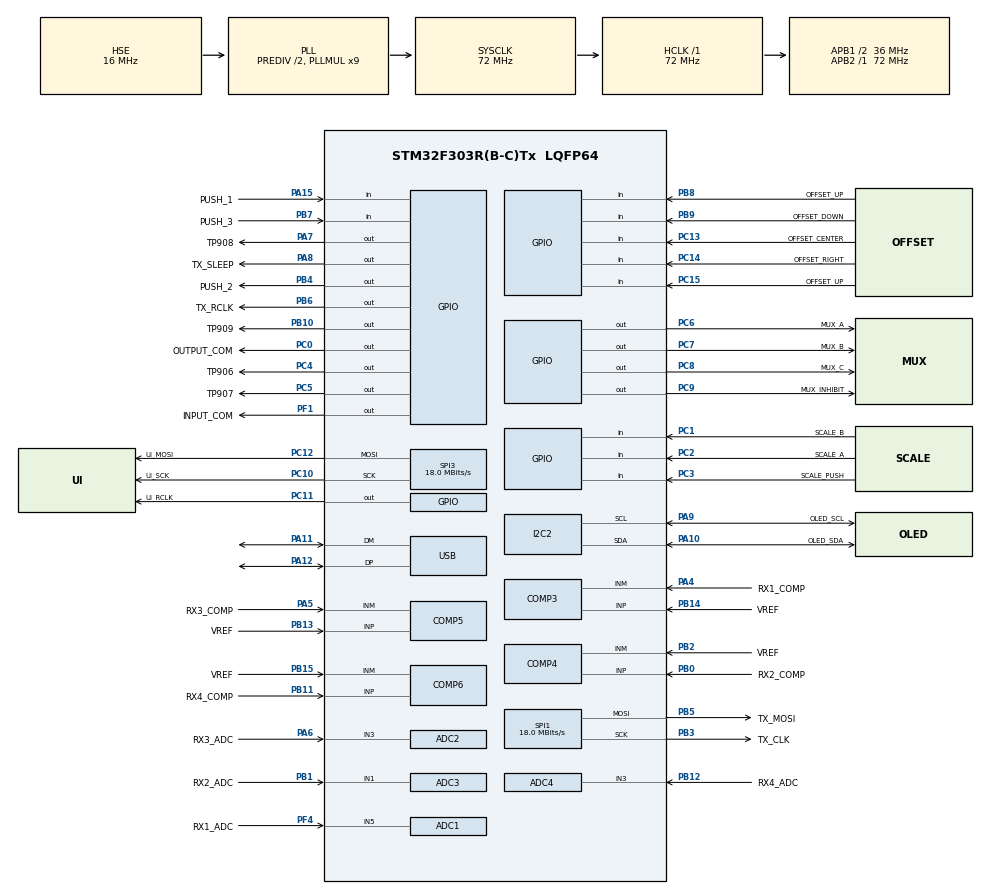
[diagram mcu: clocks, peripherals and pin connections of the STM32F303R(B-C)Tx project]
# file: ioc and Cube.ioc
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ADC1.Channel-0\#ChannelRegularConversion=ADC_CHANNEL_5
ADC1.ClockPrescaler=ADC_CLOCK_SYNC_PCLK_DIV1
ADC1.NbrOfConversionFlag=1
ADC1.Offset-0\#ChannelRegularConversion=0
ADC1.OffsetNumber-0\#ChannelRegularConversion=ADC_OFFSET_NONE
ADC1.Rank-0\#ChannelRegularConversion=1
ADC1.SamplingTime-0\#ChannelRegularConversion=ADC_SAMPLETIME_1CYCLE_5
ADC1.SamplingTimeOPAMP-0\#ChannelRegularConversion=ADC_SAMPLETIME_19CYCLES_5
ADC1.master=1
ADC2.Channel-0\#ChannelRegularConversion=ADC_CHANNEL_3
ADC2.ClockPrescaler=ADC_CLOCK_SYNC_PCLK_DIV1
ADC2.NbrOfConversionFlag=1
ADC2.Offset-0\#ChannelRegularConversion=0
ADC2.OffsetNumber-0\#ChannelRegularConversion=ADC_OFFSET_NONE
ADC2.Rank-0\#ChannelRegularConversion=1
ADC2.SamplingTime-0\#ChannelRegularConversion=ADC_SAMPLETIME_1CYCLE_5
ADC2.SamplingTimeOPAMP-0\#ChannelRegularConversion=ADC_SAMPLETIME_19CYCLES_5
ADC3.Channel-0\#ChannelRegularConversion=ADC_CHANNEL_1
ADC3.ClockPrescaler=ADC_CLOCK_SYNC_PCLK_DIV1
ADC3.NbrOfConversionFlag=1
ADC3.Offset-0\#ChannelRegularConversion=0
ADC3.OffsetNumber-0\#ChannelRegularConversion=ADC_OFFSET_NONE
ADC3.Rank-0\#ChannelRegularConversion=1
ADC3.SamplingTime-0\#ChannelRegularConversion=ADC_SAMPLETIME_1CYCLE_5
ADC3.SamplingTimeOPAMP-0\#ChannelRegularConversion=ADC_SAMPLETIME_4CYCLES_5
ADC3.master=1
ADC4.Channel-0\#ChannelRegularConversion=ADC_CHANNEL_3
ADC4.ClockPrescaler=ADC_CLOCK_SYNC_PCLK_DIV1
ADC4.NbrOfConversionFlag=1
ADC4.Offset-0\#ChannelRegularConversion=0
ADC4.OffsetNumber-0\#ChannelRegularConversion=ADC_OFFSET_NONE
ADC4.Rank-0\#ChannelRegularConversion=1
ADC4.SamplingTime-0\#ChannelRegularConversion=ADC_SAMPLETIME_1CYCLE_5
ADC4.SamplingTimeOPAMP-0\#ChannelRegularConversion=ADC_SAMPLETIME_19CYCLES_5
Dma.ADC1.0.Direction=DMA_PERIPH_TO_MEMORY
Dma.ADC1.0.Instance=DMA1_Channel1
Dma.ADC1.0.MemDataAlignment=DMA_MDATAALIGN_HALFWORD
Dma.ADC1.0.MemInc=DMA_MINC_ENABLE
Dma.ADC1.0.Mode=DMA_NORMAL
Dma.ADC1.0.PeriphDataAlignment=DMA_PDATAALIGN_HALFWORD
Dma.ADC1.0.PeriphInc=DMA_PINC_DISABLE
Dma.ADC1.0.Priority=DMA_PRIORITY_MEDIUM
Dma.ADC2.1.Direction=DMA_PERIPH_TO_MEMORY
Dma.ADC2.1.Instance=DMA2_Channel1
Dma.ADC2.1.MemDataAlignment=DMA_MDATAALIGN_HALFWORD
Dma.ADC2.1.MemInc=DMA_MINC_ENABLE
Dma.ADC2.1.Mode=DMA_NORMAL
Dma.ADC2.1.PeriphDataAlignment=DMA_PDATAALIGN_HALFWORD
Dma.ADC2.1.PeriphInc=DMA_PINC_DISABLE
Dma.ADC2.1.Priority=DMA_PRIORITY_MEDIUM
Dma.ADC3.2.Direction=DMA_PERIPH_TO_MEMORY
Dma.ADC3.2.Instance=DMA2_Channel5
Dma.ADC3.2.MemDataAlignment=DMA_MDATAALIGN_HALFWORD
Dma.ADC3.2.MemInc=DMA_MINC_ENABLE
Dma.ADC3.2.Mode=DMA_NORMAL
Dma.ADC3.2.PeriphDataAlignment=DMA_PDATAALIGN_HALFWORD
Dma.ADC3.2.PeriphInc=DMA_PINC_DISABLE
Dma.ADC3.2.Priority=DMA_PRIORITY_MEDIUM
Dma.ADC4.3.Direction=DMA_PERIPH_TO_MEMORY
Dma.ADC4.3.Instance=DMA2_Channel2
Dma.ADC4.3.MemDataAlignment=DMA_MDATAALIGN_HALFWORD
Dma.ADC4.3.MemInc=DMA_MINC_ENABLE
Dma.ADC4.3.Mode=DMA_NORMAL
Dma.ADC4.3.PeriphDataAlignment=DMA_PDATAALIGN_HALFWORD
Dma.ADC4.3.PeriphInc=DMA_PINC_DISABLE
Dma.ADC4.3.Priority=DMA_PRIORITY_MEDIUM
Dma.Request0=ADC1
Dma.Request1=ADC2
Dma.Request2=ADC3
Dma.Request3=ADC4
I2C2.Timing=0x00201D2B
Mcu.Family=STM32F3
Mcu.Name=STM32F303R(B-C)Tx
Mcu.Package=LQFP64
NVIC.ADC1_2_IRQn=true\:0\:0\:false\:false\:true\:true\:true\:true
NVIC.ADC3_IRQn=true\:0\:0\:false\:false\:true\:true\:true\:true
NVIC.ADC4_IRQn=true\:0\:0\:false\:false\:true\:true\:true\:true
NVIC.DMA1_Channel1_IRQn=true\:0\:0\:false\:false\:true\:false\:true\:true
NVIC.DMA2_Channel1_IRQn=true\:0\:0\:false\:false\:true\:false\:true\:true
NVIC.DMA2_Channel2_IRQn=true\:0\:0\:false\:false\:true\:false\:true\:true
NVIC.DMA2_Channel5_IRQn=true\:0\:0\:false\:false\:true\:false\:true\:true
NVIC.PriorityGroup=NVIC_PRIORITYGROUP_4
NVIC.TIM1_UP_TIM16_IRQn=true\:15\:0\:false\:false\:true\:false\:true\:true
NVIC.TimeBase=TIM1_UP_TIM16_IRQn
NVIC.TimeBaseIP=TIM1
PA10.GPIO_Label=OLED_SDA
PA10.Mode=I2C
PA10.Signal=I2C2_SDA
PA11.Mode=Device
PA11.Signal=USB_DM
PA12.Mode=Device
PA12.Signal=USB_DP
PA13.Mode=Serial_Wire
PA13.Signal=SYS_JTMS-SWDIO
PA14.Mode=Serial_Wire
PA14.Signal=SYS_JTCK-SWCLK
PA15.GPIO_Label=PUSH_1
PA15.Signal=GPIO_Input
PA4.GPIO_Label=RX1_COMP
PA4.Mode=INM
PA4.Signal=COMP3_INM
PA5.GPIO_Label=RX3_COMP
PA5.Mode=INM
PA5.Signal=COMP5_INM
PA6.GPIO_Label=RX3_ADC
PA6.Mode=IN3-Single-Ended
PA6.Signal=ADC2_IN3
PA7.GPIO_Label=TP908
PA7.Signal=GPIO_Output
PA8.GPIO_Label=TX_SLEEP
PA8.Signal=GPIO_Output
PA9.GPIO_Label=OLED_SCL
PA9.Mode=I2C
PA9.Signal=I2C2_SCL
PB0.GPIO_Label=RX2_COMP
PB0.Mode=INP
PB0.Signal=COMP4_INP
PB1.GPIO_Label=RX2_ADC
PB1.Mode=IN1-Single-Ended
PB1.Signal=ADC3_IN1
PB10.GPIO_Label=TP909
PB10.Signal=GPIO_Output
PB11.GPIO_Label=RX4_COMP
PB11.Mode=INP
PB11.Signal=COMP6_INP
PB12.GPIO_Label=RX4_ADC
PB12.Mode=IN3-Single-Ended
PB12.Signal=ADC4_IN3
PB13.GPIO_Label=VREF
PB13.Mode=INP
PB13.Signal=COMP5_INP
PB14.GPIO_Label=VREF
PB14.Mode=INP
PB14.Signal=COMP3_INP
PB15.GPIO_Label=VREF
PB15.Mode=INM
PB15.Signal=COMP6_INM
PB2.GPIO_Label=VREF
PB2.Mode=INM
PB2.Signal=COMP4_INM
PB3.GPIO_Label=TX_CLK
PB3.Mode=TX_Only_Simplex_Unidirect_Master
PB3.Signal=SPI1_SCK
PB4.GPIO_Label=PUSH_2
PB4.Signal=GPIO_Output
PB5.GPIO_Label=TX_MOSI
PB5.Mode=TX_Only_Simplex_Unidirect_Master
PB5.Signal=SPI1_MOSI
PB6.GPIO_Label=TX_RCLK
PB6.Signal=GPIO_Output
PB7.GPIO_Label=PUSH_3
PB7.Signal=GPIO_Input
PB8.GPIO_Label=OFFSET_UP
PB8.Signal=GPIO_Input
PB9.GPIO_Label=OFFSET_DOWN
PB9.Signal=GPIO_Input
PC0.GPIO_Label=OUTPUT_COM
PC0.Signal=GPIO_Output
PC1.GPIO_Label=SCALE_B
PC1.Signal=GPIO_Input
PC10.GPIO_Label=UI_SCK
PC10.Mode=TX_Only_Simplex_Unidirect_Master
PC10.Signal=SPI3_SCK
PC11.GPIO_Label=UI_RCLK
PC11.Signal=GPIO_Output
PC12.GPIO_Label=UI_MOSI
PC12.Mode=TX_Only_Simplex_Unidirect_Master
PC12.Signal=SPI3_MOSI
PC13.GPIO_Label=OFFSET_CENTER
PC13.Signal=GPIO_Input
PC14-OSC32_IN.GPIO_Label=OFFSET_RIGHT
PC14-OSC32_IN.Signal=GPIO_Input
PC15-OSC32_OUT.GPIO_Label=OFFSET_UP
PC15-OSC32_OUT.Signal=GPIO_Input
PC2.GPIO_Label=SCALE_A
PC2.Signal=GPIO_Input
PC3.GPIO_Label=SCALE_PUSH
PC3.Signal=GPIO_Input
PC4.GPIO_Label=TP906
PC4.Signal=GPIO_Output
PC5.GPIO_Label=TP907
PC5.Signal=GPIO_Output
PC6.GPIO_Label=MUX_A
PC6.Signal=GPIO_Output
PC7.GPIO_Label=MUX_B
PC7.Signal=GPIO_Output
PC8.GPIO_Label=MUX_C
PC8.Signal=GPIO_Output
PC9.GPIO_Label=MUX_INHIBIT
PC9.Signal=GPIO_Output
PF0-OSC_IN.Mode=HSE-External-Clock-Source
PF0-OSC_IN.Signal=RCC_OSC_IN
PF1-OSC_OUT.GPIO_Label=INPUT_COM
PF1-OSC_OUT.Signal=GPIO_Output
PF4.GPIO_Label=RX1_ADC
PF4.Mode=IN5-Single-Ended
PF4.Signal=ADC1_IN5
ProjectManager.HeapSize=0x200
ProjectManager.StackSize=0x400
ProjectManager.TargetToolchain=STM32CubeIDE
RCC.AHBFreq_Value=72000000
RCC.APB1CLKDivider=RCC_HCLK_DIV2
RCC.APB1Freq_Value=36000000
RCC.APB1TimFreq_Value=72000000
RCC.APB2Freq_Value=72000000
RCC.APB2TimFreq_Value=72000000
RCC.CortexFreq_Value=72000000
RCC.HCLKFreq_Value=72000000
RCC.HSE_VALUE=16000000
RCC.HSI_VALUE=8000000
RCC.LSE_VALUE=32768
RCC.PLLMUL=RCC_PLL_MUL9
RCC.PRESCALERUSB=RCC_USBCLKSOURCE_PLL_DIV1_5
RCC.RCC_PLLsource_Clock_Source_FROM_HSE=RCC_HSE_PREDIV_DIV2
RCC.SYSCLKFreq_VALUE=72000000
RCC.SYSCLKSourceVirtual=RCC_SYSCLKSOURCE_PLLCLK
RCC.USBFreq_Value=48000000
SPI1.BaudRatePrescaler=SPI_BAUDRATEPRESCALER_4
SPI1.CalculateBaudRate=18.0 MBits/s
SPI1.Direction=SPI_DIRECTION_2LINES
SPI1.Mode=SPI_MODE_MASTER
SPI1.VirtualType=VM_MASTER
SPI3.BaudRatePrescaler=SPI_BAUDRATEPRESCALER_2
SPI3.CalculateBaudRate=18.0 MBits/s
SPI3.Direction=SPI_DIRECTION_2LINES
SPI3.Mode=SPI_MODE_MASTER
SPI3.VirtualType=VM_MASTER
VP_SYS_VS_tim1.Mode=TIM1
board=custom

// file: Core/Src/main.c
/* USER CODE BEGIN Header */
/**
  ******************************************************************************
  * @file           : main.c
  * @brief          : Main program body
  ******************************************************************************
  * @attention
  *
  * Copyright (c) 2025 STMicroelectronics.
  * All rights reserved.
  *
  * This software is licensed under terms that can be found in the LICENSE file
  * in the root directory of this software component.
  * If no LICENSE file comes with this software, it is provided AS-IS.
  *
  ******************************************************************************
  */
/* USER CODE END Header */
#include "main.h"

ADC_HandleTypeDef hadc1;
ADC_HandleTypeDef hadc2;
ADC_HandleTypeDef hadc3;
ADC_HandleTypeDef hadc4;
DMA_HandleTypeDef hdma_adc1;
DMA_HandleTypeDef hdma_adc2;
DMA_HandleTypeDef hdma_adc3;
DMA_HandleTypeDef hdma_adc4;

COMP_HandleTypeDef hcomp3;
COMP_HandleTypeDef hcomp4;
COMP_HandleTypeDef hcomp5;
COMP_HandleTypeDef hcomp6;

I2C_HandleTypeDef hi2c2;

SPI_HandleTypeDef hspi1;
SPI_HandleTypeDef hspi3;

PCD_HandleTypeDef hpcd_USB_FS;

void SystemClock_Config(void);
static void MX_GPIO_Init(void);
static void MX_DMA_Init(void);
static void MX_ADC3_Init(void);
static void MX_COMP3_Init(void);
static void MX_COMP4_Init(void);
static void MX_COMP5_Init(void);
static void MX_COMP6_Init(void);
static void MX_USB_PCD_Init(void);
static void MX_ADC1_Init(void);
static void MX_ADC2_Init(void);
static void MX_ADC4_Init(void);
static void MX_I2C2_Init(void);
static void MX_SPI1_Init(void);
static void MX_SPI3_Init(void);

int main(void)
{

  /* MCU Configuration--------------------------------------------------------*/

  /* Reset of all peripherals, Initializes the Flash interface and the Systick. */
  HAL_Init();

  /* Configure the system clock */
  SystemClock_Config();

  /* Initialize all configured peripherals */
  MX_GPIO_Init();
  MX_DMA_Init();
  MX_ADC3_Init();
  MX_COMP3_Init();
  MX_COMP4_Init();
  MX_COMP5_Init();
  MX_COMP6_Init();
  MX_USB_PCD_Init();
  MX_ADC1_Init();
  MX_ADC2_Init();
  MX_ADC4_Init();
  MX_I2C2_Init();
  MX_SPI1_Init();
  MX_SPI3_Init();
  /* USER CODE BEGIN 2 */
  ssd1306_Init();
  ssd1306_Fill(White);
  ssd1306_UpdateScreen();

  HAL_Delay(50);

  ssd1306_SetCursor(10, 20);
  ssd1306_WriteString("HELLO WORLD", Font_6x8, Black);
  ssd1306_UpdateScreen();
  /* USER CODE END 2 */

  /* Infinite loop */
  while (1)
  {

  }
}

void SystemClock_Config(void)
{
  RCC_OscInitTypeDef RCC_OscInitStruct = {0};
  RCC_ClkInitTypeDef RCC_ClkInitStruct = {0};
  RCC_PeriphCLKInitTypeDef PeriphClkInit = {0};

  /** Initializes the RCC Oscillators according to the specified parameters
  * in the RCC_OscInitTypeDef structure.
  */
  RCC_OscInitStruct.OscillatorType = RCC_OSCILLATORTYPE_HSI|RCC_OSCILLATORTYPE_HSE;
  RCC_OscInitStruct.HSEState = RCC_HSE_BYPASS;
  RCC_OscInitStruct.HSEPredivValue = RCC_HSE_PREDIV_DIV2;
  RCC_OscInitStruct.HSIState = RCC_HSI_ON;
  RCC_OscInitStruct.HSICalibrationValue = RCC_HSICALIBRATION_DEFAULT;
  RCC_OscInitStruct.PLL.PLLState = RCC_PLL_ON;
  RCC_OscInitStruct.PLL.PLLSource = RCC_PLLSOURCE_HSE;
  RCC_OscInitStruct.PLL.PLLMUL = RCC_PLL_MUL9;
  if (HAL_RCC_OscConfig(&RCC_OscInitStruct) != HAL_OK)
  {
    Error_Handler();
  }

  /** Initializes the CPU, AHB and APB buses clocks
  */
  RCC_ClkInitStruct.ClockType = RCC_CLOCKTYPE_HCLK|RCC_CLOCKTYPE_SYSCLK
                              |RCC_CLOCKTYPE_PCLK1|RCC_CLOCKTYPE_PCLK2;
  RCC_ClkInitStruct.SYSCLKSource = RCC_SYSCLKSOURCE_PLLCLK;
  RCC_ClkInitStruct.AHBCLKDivider = RCC_SYSCLK_DIV1;
  RCC_ClkInitStruct.APB1CLKDivider = RCC_HCLK_DIV2;
  RCC_ClkInitStruct.APB2CLKDivider = RCC_HCLK_DIV1;

  if (HAL_RCC_ClockConfig(&RCC_ClkInitStruct, FLASH_LATENCY_2) != HAL_OK)
  {
    Error_Handler();
  }
  PeriphClkInit.PeriphClockSelection = RCC_PERIPHCLK_USB|RCC_PERIPHCLK_I2C2;
  PeriphClkInit.I2c2ClockSelection = RCC_I2C2CLKSOURCE_HSI;
  PeriphClkInit.USBClockSelection = RCC_USBCLKSOURCE_PLL_DIV1_5;
  if (HAL_RCCEx_PeriphCLKConfig(&PeriphClkInit) != HAL_OK)
  {
    Error_Handler();
  }
}

static void MX_ADC1_Init(void)
{

  ADC_MultiModeTypeDef multimode = {0};
  ADC_ChannelConfTypeDef sConfig = {0};

  /** Common config
  */
  hadc1.Instance = ADC1;
  hadc1.Init.ClockPrescaler = ADC_CLOCK_SYNC_PCLK_DIV1;
  hadc1.Init.Resolution = ADC_RESOLUTION_12B;
  hadc1.Init.ScanConvMode = ADC_SCAN_DISABLE;
  hadc1.Init.ContinuousConvMode = DISABLE;
  hadc1.Init.DiscontinuousConvMode = DISABLE;
  hadc1.Init.ExternalTrigConvEdge = ADC_EXTERNALTRIGCONVEDGE_NONE;
  hadc1.Init.ExternalTrigConv = ADC_SOFTWARE_START;
  hadc1.Init.DataAlign = ADC_DATAALIGN_RIGHT;
  hadc1.Init.NbrOfConversion = 1;
  hadc1.Init.DMAContinuousRequests = DISABLE;
  hadc1.Init.EOCSelection = ADC_EOC_SINGLE_CONV;
  hadc1.Init.LowPowerAutoWait = DISABLE;
  hadc1.Init.Overrun = ADC_OVR_DATA_OVERWRITTEN;
  if (HAL_ADC_Init(&hadc1) != HAL_OK)
  {
    Error_Handler();
  }

  /** Configure the ADC multi-mode
  */
  multimode.Mode = ADC_MODE_INDEPENDENT;
  if (HAL_ADCEx_MultiModeConfigChannel(&hadc1, &multimode) != HAL_OK)
  {
    Error_Handler();
  }

  /** Configure Regular Channel
  */
  sConfig.Channel = ADC_CHANNEL_5;
  sConfig.Rank = ADC_REGULAR_RANK_1;
  sConfig.SingleDiff = ADC_SINGLE_ENDED;
  sConfig.SamplingTime = ADC_SAMPLETIME_1CYCLE_5;
  sConfig.OffsetNumber = ADC_OFFSET_NONE;
  sConfig.Offset = 0;
  if (HAL_ADC_ConfigChannel(&hadc1, &sConfig) != HAL_OK)
  {
    Error_Handler();
  }

}

static void MX_ADC2_Init(void)
{

  ADC_ChannelConfTypeDef sConfig = {0};

  /** Common config
  */
  hadc2.Instance = ADC2;
  hadc2.Init.ClockPrescaler = ADC_CLOCK_SYNC_PCLK_DIV1;
  hadc2.Init.Resolution = ADC_RESOLUTION_12B;
  hadc2.Init.ScanConvMode = ADC_SCAN_DISABLE;
  hadc2.Init.ContinuousConvMode = DISABLE;
  hadc2.Init.DiscontinuousConvMode = DISABLE;
  hadc2.Init.ExternalTrigConvEdge = ADC_EXTERNALTRIGCONVEDGE_NONE;
  hadc2.Init.ExternalTrigConv = ADC_SOFTWARE_START;
  hadc2.Init.DataAlign = ADC_DATAALIGN_RIGHT;
  hadc2.Init.NbrOfConversion = 1;
  hadc2.Init.DMAContinuousRequests = DISABLE;
  hadc2.Init.EOCSelection = ADC_EOC_SINGLE_CONV;
  hadc2.Init.LowPowerAutoWait = DISABLE;
  hadc2.Init.Overrun = ADC_OVR_DATA_OVERWRITTEN;
  if (HAL_ADC_Init(&hadc2) != HAL_OK)
  {
    Error_Handler();
  }

  /** Configure Regular Channel
  */
  sConfig.Channel = ADC_CHANNEL_3;
  sConfig.Rank = ADC_REGULAR_RANK_1;
  sConfig.SingleDiff = ADC_SINGLE_ENDED;
  sConfig.SamplingTime = ADC_SAMPLETIME_1CYCLE_5;
  sConfig.OffsetNumber = ADC_OFFSET_NONE;
  sConfig.Offset = 0;
  if (HAL_ADC_ConfigChannel(&hadc2, &sConfig) != HAL_OK)
  {
    Error_Handler();
  }

}

static void MX_ADC3_Init(void)
{

  ADC_MultiModeTypeDef multimode = {0};
  ADC_ChannelConfTypeDef sConfig = {0};

  /** Common config
  */
  hadc3.Instance = ADC3;
  hadc3.Init.ClockPrescaler = ADC_CLOCK_SYNC_PCLK_DIV1;
  hadc3.Init.Resolution = ADC_RESOLUTION_12B;
  hadc3.Init.ScanConvMode = ADC_SCAN_DISABLE;
  hadc3.Init.ContinuousConvMode = DISABLE;
  hadc3.Init.DiscontinuousConvMode = DISABLE;
  hadc3.Init.ExternalTrigConvEdge = ADC_EXTERNALTRIGCONVEDGE_NONE;
  hadc3.Init.ExternalTrigConv = ADC_SOFTWARE_START;
  hadc3.Init.DataAlign = ADC_DATAALIGN_RIGHT;
  hadc3.Init.NbrOfConversion = 1;
  hadc3.Init.DMAContinuousRequests = DISABLE;
  hadc3.Init.EOCSelection = ADC_EOC_SINGLE_CONV;
  hadc3.Init.LowPowerAutoWait = DISABLE;
  hadc3.Init.Overrun = ADC_OVR_DATA_OVERWRITTEN;
  if (HAL_ADC_Init(&hadc3) != HAL_OK)
  {
    Error_Handler();
  }

  /** Configure the ADC multi-mode
  */
  multimode.Mode = ADC_MODE_INDEPENDENT;
  if (HAL_ADCEx_MultiModeConfigChannel(&hadc3, &multimode) != HAL_OK)
  {
    Error_Handler();
  }

  /** Configure Regular Channel
  */
  sConfig.Channel = ADC_CHANNEL_1;
  sConfig.Rank = ADC_REGULAR_RANK_1;
  sConfig.SingleDiff = ADC_SINGLE_ENDED;
  sConfig.SamplingTime = ADC_SAMPLETIME_1CYCLE_5;
  sConfig.OffsetNumber = ADC_OFFSET_NONE;
  sConfig.Offset = 0;
  if (HAL_ADC_ConfigChannel(&hadc3, &sConfig) != HAL_OK)
  {
    Error_Handler();
  }

}

static void MX_ADC4_Init(void)
{

  ADC_ChannelConfTypeDef sConfig = {0};

  /** Common config
  */
  hadc4.Instance = ADC4;
  hadc4.Init.ClockPrescaler = ADC_CLOCK_SYNC_PCLK_DIV1;
  hadc4.Init.Resolution = ADC_RESOLUTION_12B;
  hadc4.Init.ScanConvMode = ADC_SCAN_DISABLE;
  hadc4.Init.ContinuousConvMode = DISABLE;
  hadc4.Init.DiscontinuousConvMode = DISABLE;
  hadc4.Init.ExternalTrigConvEdge = ADC_EXTERNALTRIGCONVEDGE_NONE;
  hadc4.Init.ExternalTrigConv = ADC_SOFTWARE_START;
  hadc4.Init.DataAlign = ADC_DATAALIGN_RIGHT;
  hadc4.Init.NbrOfConversion = 1;
  hadc4.Init.DMAContinuousRequests = DISABLE;
  hadc4.Init.EOCSelection = ADC_EOC_SINGLE_CONV;
  hadc4.Init.LowPowerAutoWait = DISABLE;
  hadc4.Init.Overrun = ADC_OVR_DATA_OVERWRITTEN;
  if (HAL_ADC_Init(&hadc4) != HAL_OK)
  {
    Error_Handler();
  }

  /** Configure Regular Channel
  */
  sConfig.Channel = ADC_CHANNEL_3;
  sConfig.Rank = ADC_REGULAR_RANK_1;
  sConfig.SingleDiff = ADC_SINGLE_ENDED;
  sConfig.SamplingTime = ADC_SAMPLETIME_1CYCLE_5;
  sConfig.OffsetNumber = ADC_OFFSET_NONE;
  sConfig.Offset = 0;
  if (HAL_ADC_ConfigChannel(&hadc4, &sConfig) != HAL_OK)
  {
    Error_Handler();
  }

}

static void MX_COMP3_Init(void)
{

  hcomp3.Instance = COMP3;
  hcomp3.Init.InvertingInput = COMP_INVERTINGINPUT_DAC1_CH1;
  hcomp3.Init.NonInvertingInput = COMP_NONINVERTINGINPUT_IO1;
  hcomp3.Init.Output = COMP_OUTPUT_NONE;
  hcomp3.Init.OutputPol = COMP_OUTPUTPOL_NONINVERTED;
  hcomp3.Init.Hysteresis = COMP_HYSTERESIS_NONE;
  hcomp3.Init.BlankingSrce = COMP_BLANKINGSRCE_NONE;
  hcomp3.Init.Mode = COMP_MODE_HIGHSPEED;
  hcomp3.Init.WindowMode = COMP_WINDOWMODE_DISABLE;
  hcomp3.Init.TriggerMode = COMP_TRIGGERMODE_NONE;
  if (HAL_COMP_Init(&hcomp3) != HAL_OK)
  {
    Error_Handler();
  }

}

static void MX_COMP4_Init(void)
{

  hcomp4.Instance = COMP4;
  hcomp4.Init.InvertingInput = COMP_INVERTINGINPUT_IO2;
  hcomp4.Init.NonInvertingInput = COMP_NONINVERTINGINPUT_IO1;
  hcomp4.Init.Output = COMP_OUTPUT_NONE;
  hcomp4.Init.OutputPol = COMP_OUTPUTPOL_NONINVERTED;
  hcomp4.Init.Hysteresis = COMP_HYSTERESIS_NONE;
  hcomp4.Init.BlankingSrce = COMP_BLANKINGSRCE_NONE;
  hcomp4.Init.Mode = COMP_MODE_HIGHSPEED;
  hcomp4.Init.WindowMode = COMP_WINDOWMODE_DISABLE;
  hcomp4.Init.TriggerMode = COMP_TRIGGERMODE_NONE;
  if (HAL_COMP_Init(&hcomp4) != HAL_OK)
  {
    Error_Handler();
  }

}

static void MX_COMP5_Init(void)
{

  hcomp5.Instance = COMP5;
  hcomp5.Init.InvertingInput = COMP_INVERTINGINPUT_DAC1_CH2;
  hcomp5.Init.NonInvertingInput = COMP_NONINVERTINGINPUT_IO2;
  hcomp5.Init.Output = COMP_OUTPUT_NONE;
  hcomp5.Init.OutputPol = COMP_OUTPUTPOL_NONINVERTED;
  hcomp5.Init.Hysteresis = COMP_HYSTERESIS_NONE;
  hcomp5.Init.BlankingSrce = COMP_BLANKINGSRCE_NONE;
  hcomp5.Init.Mode = COMP_MODE_HIGHSPEED;
  hcomp5.Init.WindowMode = COMP_WINDOWMODE_DISABLE;
  hcomp5.Init.TriggerMode = COMP_TRIGGERMODE_NONE;
  if (HAL_COMP_Init(&hcomp5) != HAL_OK)
  {
    Error_Handler();
  }

}

static void MX_COMP6_Init(void)
{

  hcomp6.Instance = COMP6;
  hcomp6.Init.InvertingInput = COMP_INVERTINGINPUT_IO2;
  hcomp6.Init.NonInvertingInput = COMP_NONINVERTINGINPUT_IO2;
  hcomp6.Init.Output = COMP_OUTPUT_NONE;
  hcomp6.Init.OutputPol = COMP_OUTPUTPOL_NONINVERTED;
  hcomp6.Init.Hysteresis = COMP_HYSTERESIS_NONE;
  hcomp6.Init.BlankingSrce = COMP_BLANKINGSRCE_NONE;
  hcomp6.Init.Mode = COMP_MODE_HIGHSPEED;
  hcomp6.Init.WindowMode = COMP_WINDOWMODE_DISABLE;
  hcomp6.Init.TriggerMode = COMP_TRIGGERMODE_NONE;
  if (HAL_COMP_Init(&hcomp6) != HAL_OK)
  {
    Error_Handler();
  }

}

static void MX_I2C2_Init(void)
{

  hi2c2.Instance = I2C2;
  hi2c2.Init.Timing = 0x00201D2B;
  hi2c2.Init.OwnAddress1 = 0;
  hi2c2.Init.AddressingMode = I2C_ADDRESSINGMODE_7BIT;
  hi2c2.Init.DualAddressMode = I2C_DUALADDRESS_DISABLE;
  hi2c2.Init.OwnAddress2 = 0;
  hi2c2.Init.OwnAddress2Masks = I2C_OA2_NOMASK;
  hi2c2.Init.GeneralCallMode = I2C_GENERALCALL_DISABLE;
  hi2c2.Init.NoStretchMode = I2C_NOSTRETCH_DISABLE;
  if (HAL_I2C_Init(&hi2c2) != HAL_OK)
  {
    Error_Handler();
  }

  /** Configure Analogue filter
  */
  if (HAL_I2CEx_ConfigAnalogFilter(&hi2c2, I2C_ANALOGFILTER_ENABLE) != HAL_OK)
  {
    Error_Handler();
  }

  /** Configure Digital filter
  */
  if (HAL_I2CEx_ConfigDigitalFilter(&hi2c2, 0) != HAL_OK)
  {
    Error_Handler();
  }

}

static void MX_SPI1_Init(void)
{

  /* SPI1 parameter configuration*/
  hspi1.Instance = SPI1;
  hspi1.Init.Mode = SPI_MODE_MASTER;
  hspi1.Init.Direction = SPI_DIRECTION_2LINES;
  hspi1.Init.DataSize = SPI_DATASIZE_4BIT;
  hspi1.Init.CLKPolarity = SPI_POLARITY_LOW;
  hspi1.Init.CLKPhase = SPI_PHASE_1EDGE;
  hspi1.Init.NSS = SPI_NSS_SOFT;
  hspi1.Init.BaudRatePrescaler = SPI_BAUDRATEPRESCALER_4;
  hspi1.Init.FirstBit = SPI_FIRSTBIT_MSB;
  hspi1.Init.TIMode = SPI_TIMODE_DISABLE;
  hspi1.Init.CRCCalculation = SPI_CRCCALCULATION_DISABLE;
  hspi1.Init.CRCPolynomial = 7;
  hspi1.Init.CRCLength = SPI_CRC_LENGTH_DATASIZE;
  hspi1.Init.NSSPMode = SPI_NSS_PULSE_ENABLE;
  if (HAL_SPI_Init(&hspi1) != HAL_OK)
  {
    Error_Handler();
  }

}

static void MX_SPI3_Init(void)
{

  /* SPI3 parameter configuration*/
  hspi3.Instance = SPI3;
  hspi3.Init.Mode = SPI_MODE_MASTER;
  hspi3.Init.Direction = SPI_DIRECTION_2LINES;
  hspi3.Init.DataSize = SPI_DATASIZE_4BIT;
  hspi3.Init.CLKPolarity = SPI_POLARITY_LOW;
  hspi3.Init.CLKPhase = SPI_PHASE_1EDGE;
  hspi3.Init.NSS = SPI_NSS_SOFT;
  hspi3.Init.BaudRatePrescaler = SPI_BAUDRATEPRESCALER_2;
  hspi3.Init.FirstBit = SPI_FIRSTBIT_MSB;
  hspi3.Init.TIMode = SPI_TIMODE_DISABLE;
  hspi3.Init.CRCCalculation = SPI_CRCCALCULATION_DISABLE;
  hspi3.Init.CRCPolynomial = 7;
  hspi3.Init.CRCLength = SPI_CRC_LENGTH_DATASIZE;
  hspi3.Init.NSSPMode = SPI_NSS_PULSE_ENABLE;
  if (HAL_SPI_Init(&hspi3) != HAL_OK)
  {
    Error_Handler();
  }

}

static void MX_USB_PCD_Init(void)
{

  hpcd_USB_FS.Instance = USB;
  hpcd_USB_FS.Init.dev_endpoints = 8;
  hpcd_USB_FS.Init.speed = PCD_SPEED_FULL;
  hpcd_USB_FS.Init.phy_itface = PCD_PHY_EMBEDDED;
  hpcd_USB_FS.Init.low_power_enable = DISABLE;
  hpcd_USB_FS.Init.battery_charging_enable = DISABLE;
  if (HAL_PCD_Init(&hpcd_USB_FS) != HAL_OK)
  {
    Error_Handler();
  }

}

static void MX_DMA_Init(void)
{

  /* DMA controller clock enable */
  __HAL_RCC_DMA1_CLK_ENABLE();
  __HAL_RCC_DMA2_CLK_ENABLE();

  /* DMA interrupt init */
  /* DMA1_Channel1_IRQn interrupt configuration */
  HAL_NVIC_SetPriority(DMA1_Channel1_IRQn, 0, 0);
  HAL_NVIC_EnableIRQ(DMA1_Channel1_IRQn);
  /* DMA2_Channel1_IRQn interrupt configuration */
  HAL_NVIC_SetPriority(DMA2_Channel1_IRQn, 0, 0);
  HAL_NVIC_EnableIRQ(DMA2_Channel1_IRQn);
  /* DMA2_Channel2_IRQn interrupt configuration */
  HAL_NVIC_SetPriority(DMA2_Channel2_IRQn, 0, 0);
  HAL_NVIC_EnableIRQ(DMA2_Channel2_IRQn);
  /* DMA2_Channel5_IRQn interrupt configuration */
  HAL_NVIC_SetPriority(DMA2_Channel5_IRQn, 0, 0);
  HAL_NVIC_EnableIRQ(DMA2_Channel5_IRQn);

}

static void MX_GPIO_Init(void)
{
  GPIO_InitTypeDef GPIO_InitStruct = {0};

  /* GPIO Ports Clock Enable */
  __HAL_RCC_GPIOC_CLK_ENABLE();
  __HAL_RCC_GPIOF_CLK_ENABLE();
  __HAL_RCC_GPIOA_CLK_ENABLE();
  __HAL_RCC_GPIOB_CLK_ENABLE();

  /*Configure GPIO pin Output Level */
  HAL_GPIO_WritePin(INPUT_COM_GPIO_Port, INPUT_COM_Pin, GPIO_PIN_RESET);

  /*Configure GPIO pin Output Level */
  HAL_GPIO_WritePin(GPIOC, OUTPUT_COM_Pin|TP906_Pin|TP907_Pin|MUX_A_Pin
                          |MUX_B_Pin|MUX_C_Pin|MUX_INHIBIT_Pin|UI_RCLK_Pin, GPIO_PIN_RESET);

  /*Configure GPIO pin Output Level */
  HAL_GPIO_WritePin(GPIOA, TP908_Pin|TX_SLEEP_Pin, GPIO_PIN_RESET);

  /*Configure GPIO pin Output Level */
  HAL_GPIO_WritePin(GPIOB, TP909_Pin|PUSH_2_Pin|TX_RCLK_Pin, GPIO_PIN_RESET);

  /*Configure GPIO pins : OFFSET_CENTER_Pin OFFSET_RIGHT_Pin OFFSET_UP_Pin SCALE_B_Pin
                           SCALE_A_Pin SCALE_PUSH_Pin */
  GPIO_InitStruct.Pin = OFFSET_CENTER_Pin|OFFSET_RIGHT_Pin|OFFSET_UP_Pin|SCALE_B_Pin
                          |SCALE_A_Pin|SCALE_PUSH_Pin;
  GPIO_InitStruct.Mode = GPIO_MODE_INPUT;
  GPIO_InitStruct.Pull = GPIO_NOPULL;
  HAL_GPIO_Init(GPIOC, &GPIO_InitStruct);

  /*Configure GPIO pin : INPUT_COM_Pin */
  GPIO_InitStruct.Pin = INPUT_COM_Pin;
  GPIO_InitStruct.Mode = GPIO_MODE_OUTPUT_PP;
  GPIO_InitStruct.Pull = GPIO_NOPULL;
  GPIO_InitStruct.Speed = GPIO_SPEED_FREQ_LOW;
  HAL_GPIO_Init(INPUT_COM_GPIO_Port, &GPIO_InitStruct);

  /*Configure GPIO pins : OUTPUT_COM_Pin TP906_Pin TP907_Pin MUX_A_Pin
                           MUX_B_Pin MUX_C_Pin MUX_INHIBIT_Pin UI_RCLK_Pin */
  GPIO_InitStruct.Pin = OUTPUT_COM_Pin|TP906_Pin|TP907_Pin|MUX_A_Pin
                          |MUX_B_Pin|MUX_C_Pin|MUX_INHIBIT_Pin|UI_RCLK_Pin;
  GPIO_InitStruct.Mode = GPIO_MODE_OUTPUT_PP;
  GPIO_InitStruct.Pull = GPIO_NOPULL;
  GPIO_InitStruct.Speed = GPIO_SPEED_FREQ_LOW;
  HAL_GPIO_Init(GPIOC, &GPIO_InitStruct);

  /*Configure GPIO pins : TP908_Pin TX_SLEEP_Pin */
  GPIO_InitStruct.Pin = TP908_Pin|TX_SLEEP_Pin;
  GPIO_InitStruct.Mode = GPIO_MODE_OUTPUT_PP;
  GPIO_InitStruct.Pull = GPIO_NOPULL;
  GPIO_InitStruct.Speed = GPIO_SPEED_FREQ_LOW;
  HAL_GPIO_Init(GPIOA, &GPIO_InitStruct);

  /*Configure GPIO pins : TP909_Pin PUSH_2_Pin TX_RCLK_Pin */
  GPIO_InitStruct.Pin = TP909_Pin|PUSH_2_Pin|TX_RCLK_Pin;
  GPIO_InitStruct.Mode = GPIO_MODE_OUTPUT_PP;
  GPIO_InitStruct.Pull = GPIO_NOPULL;
  GPIO_InitStruct.Speed = GPIO_SPEED_FREQ_LOW;
  HAL_GPIO_Init(GPIOB, &GPIO_InitStruct);

  /*Configure GPIO pin : PUSH_1_Pin */
  GPIO_InitStruct.Pin = PUSH_1_Pin;
  GPIO_InitStruct.Mode = GPIO_MODE_INPUT;
  GPIO_InitStruct.Pull = GPIO_NOPULL;
  HAL_GPIO_Init(PUSH_1_GPIO_Port, &GPIO_InitStruct);

  /*Configure GPIO pins : PUSH_3_Pin OFFSET_UPB8_Pin OFFSET_DOWN_Pin */
  GPIO_InitStruct.Pin = PUSH_3_Pin|OFFSET_UPB8_Pin|OFFSET_DOWN_Pin;
  GPIO_InitStruct.Mode = GPIO_MODE_INPUT;
  GPIO_InitStruct.Pull = GPIO_NOPULL;
  HAL_GPIO_Init(GPIOB, &GPIO_InitStruct);

}

/* USER CODE BEGIN 4 */
void Shift_Reg_Write(SPI_HandleTypeDef *hspi, GPIO_TypeDef *rclkPort, uint16_t rclkPin, uint32_t data, uint8_t numBits)
{
    uint8_t numBytes = (numBits + 7) / 8;
    uint8_t spiBuffer[4] = {0};
    for (int i = 0; i < numBytes; i++)
    {
        spiBuffer[i] = (data >> (8 * (numBytes - 1 - i))) & 0xFF;
    }
    HAL_GPIO_WritePin(rclkPort, rclkPin, GPIO_PIN_RESET);
    HAL_SPI_Transmit(hspi, spiBuffer, numBytes, HAL_MAX_DELAY);
    HAL_GPIO_WritePin(rclkPort, rclkPin, GPIO_PIN_SET);
}
/* USER CODE END 4 */

void HAL_TIM_PeriodElapsedCallback(TIM_HandleTypeDef *htim)
{
  if (htim->Instance == TIM1) {
    HAL_IncTick();
  }
}

void Error_Handler(void)
{
  __disable_irq();
  while (1)
  {
  }
}
